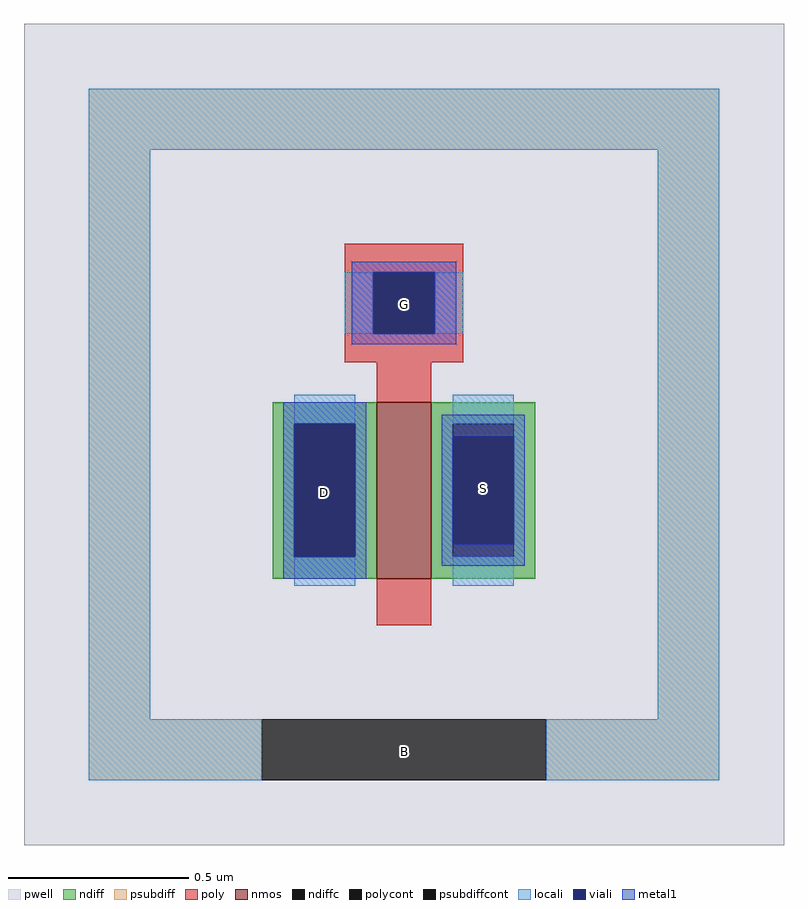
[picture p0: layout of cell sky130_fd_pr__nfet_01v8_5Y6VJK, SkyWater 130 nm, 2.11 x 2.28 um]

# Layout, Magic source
magic
tech sky130A
magscale 1 2
<< pwell >>
rect -211 -228 211 228
<< nmos >>
rect -15 -80 15 18
<< ndiff >>
rect -73 6 -15 18
rect -73 -68 -61 6
rect -27 -68 -15 6
rect -73 -80 -15 -68
rect 15 6 73 18
rect 15 -68 27 6
rect 61 -68 73 6
rect 15 -80 73 -68
<< ndiffc >>
rect -61 -68 -27 6
rect 27 -68 61 6
<< psubdiff >>
rect -175 158 175 192
rect -175 -158 -141 158
rect 141 -158 175 158
rect -175 -192 -79 -158
rect 79 -192 175 -158
<< psubdiffcont >>
rect -79 -192 79 -158
<< poly >>
rect -33 90 33 106
rect -33 56 -17 90
rect 17 56 33 90
rect -33 40 33 56
rect -15 18 15 40
rect -15 -106 15 -80
<< polycont >>
rect -17 56 17 90
<< locali >>
rect -175 158 175 192
rect -175 -158 -141 158
rect -33 56 -17 90
rect 17 56 33 90
rect -61 6 -27 22
rect -61 -84 -27 -68
rect 27 6 61 22
rect 27 -84 61 -68
rect 141 -158 175 158
rect -175 -192 -79 -158
rect 79 -192 175 -158
<< viali >>
rect -17 56 17 90
rect -61 -68 -27 6
rect 27 -61 61 -1
<< metal1 >>
rect -29 90 29 96
rect -29 56 -17 90
rect 17 56 29 90
rect -29 50 29 56
rect -67 6 -21 18
rect -67 -68 -61 6
rect -27 -68 -21 6
rect -67 -80 -21 -68
rect 21 -1 67 11
rect 21 -61 27 -1
rect 61 -61 67 -1
rect 21 -73 67 -61
<< labels >>
flabel metal1 s -44 -32 -44 -32 0 FreeSans 320 0 0 0 D
port 0 nsew
flabel metal1 s 44 -30 44 -30 0 FreeSans 320 0 0 0 S
port 1 nsew
flabel metal1 s 0 72 0 72 0 FreeSans 320 0 0 0 G
port 2 nsew
flabel locali s 0 -176 0 -176 0 FreeSans 320 0 0 0 B
port 3 nsew
<< properties >>
string FIXED_BBOX -158 -175 158 175
string gencell sky130_fd_pr__nfet_01v8
string library sky130
string parameters w 0.49 l 0.150 m 1 nf 1 diffcov 100 polycov 100 guard 1 glc 0 grc 0 gtc 0 gbc 1 tbcov 100 rlcov 100 topc 1 botc 0 poverlap 0 doverlap 1 lmin 0.15 wmin 0.42 compatible {sky130_fd_pr__nfet_01v8 sky130_fd_pr__nfet_01v8_lvt  sky130_fd_bs_flash__special_sonosfet_star  sky130_fd_pr__nfet_g5v0d10v5 sky130_fd_pr__nfet_05v0_nvt  sky130_fd_pr__nfet_03v3_nvt} full_metal 1 viasrc 80 viadrn 100 viagate 100 viagb 0 viagr 0 viagl 0 viagt 0
<< end >>
